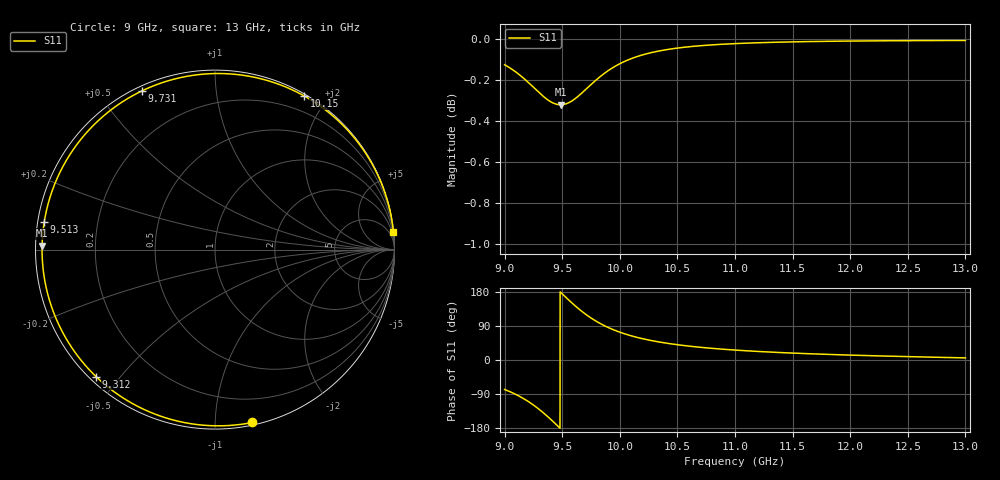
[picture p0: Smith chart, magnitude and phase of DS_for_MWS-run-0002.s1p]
! TOUCHSTONE file generated by CST DESIGN STUDIO
! Date and time: Tue Feb  4 18:14:27 2025
! Project name: C:\Work\MatlabApps\UnitCellOptimizationMatlab\CST\unitcell.cst
! Tree item: Tasks\Sweep1\SPara1\S-Parameters
! Header version: 2024
! Port assignment regex: !\s*Touchstone port\s*([0-9]+)\s*=\s*(CST MWS port|CST DES external port|CST DES block port)\s*(.+)\s* \(\"(.*)\"\)(\s*mode\s*([0-9]+))?.*
! Touchstone port assignment:
! Touchstone port 1 = CST DES external port 1 ("")
# GHz S MA R 50
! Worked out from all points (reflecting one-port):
!   4001 points, 9 GHz to 13 GHz, reference 50 ohm
!   lowest |S11| = -0.3 dB at 9.486 GHz (marker M1), VSWR 54.00, Z = 0.926 + j0.587 ohm
!   phase of S11 starts at -78 deg and turns -277 deg over the sweep
!   S11 on the Smith chart (normalised r, x): 9 GHz: 0.02, -1.24; 9.312 GHz: 0.02, -0.43; 9.513 GHz: 0.02, +0.08; 9.731 GHz: 0.02, +0.64; 10.15 GHz: 0.02, +1.74; 13 GHz: 0, +20
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9  0.9855 -77.8
9.079  0.9823 -88.1
9.178  0.9773 -104.3
9.247  0.9733 -118.1
9.312  0.9695 -133.2
9.358  0.9671 -145.0
9.406  0.9651 -158.2
9.447  0.964 -170.0
9.486  0.9636 178.7
9.5  0.9637 174.6
9.513  0.9638 170.8
9.566  0.965 155.6
9.626  0.9676 139.4
9.678  0.9704 126.6
9.731  0.9735 114.8
9.786  0.9766 103.9
9.846  0.9798 93.7
9.922  0.9832 82.7
10  0.986 73.4
10.148  0.9899 59.8
10.307  0.9926 49.4
10.5  0.9947 40.3
10.722  0.9961 32.9
11  0.9972 26.2
11.5  0.9982 18.2
12  0.9986 12.9
12.5  0.9988 8.9
13  0.9989 5.6
